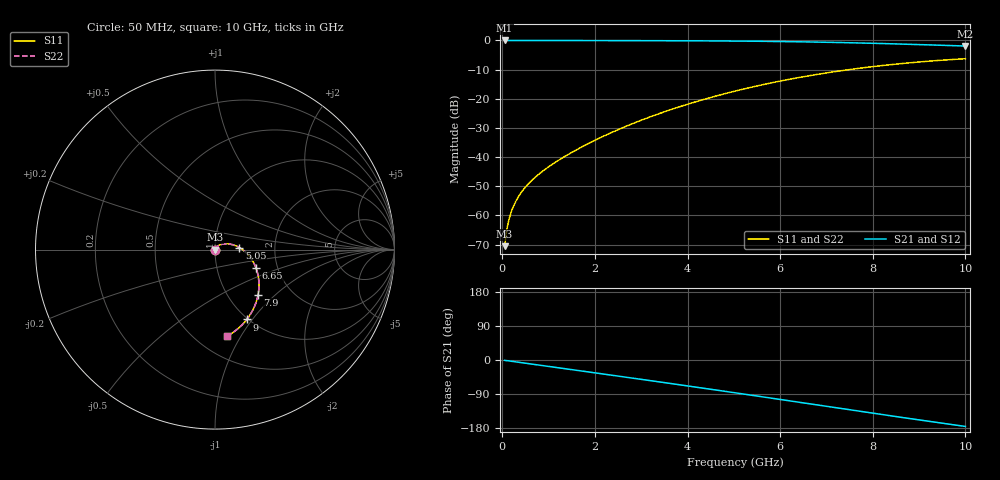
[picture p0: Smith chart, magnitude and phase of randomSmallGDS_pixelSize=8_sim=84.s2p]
! freq	dB(S11)	phase(S11)	dB(S12)	phase(S12)
!  dB(S21)	phase(S21)	dB(S22)	phase(S22)
!S-par simulation data
#  GHz  S  DB  R 50
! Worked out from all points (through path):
!   200 points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, 50 MHz to 10 GHz, reference 50 ohm
!   highest |S21| = 0.00 dB at 50 MHz (marker M1); lowest = -1.9 dB at 10 GHz (marker M2)
!   group delay of S21, straight-line fit = 49.1 ps
!   lowest |S11| = -70.5 dB at 50 MHz (marker M3), VSWR 1.00, Z = 50 + j0.0295 ohm
!   |S11| at or under -10 dB: start of sweep to 7.488 GHz
!   |S22| runs from -70.5 to -6.3 dB; largest |S21 - S12| = 0
!   S11 on the Smith chart (normalised r, x): 50 MHz: 1.00, +0.00; 5.05 GHz: 1.32, +0.03; 6.65 GHz: 1.55, -0.34; 7.9 GHz: 1.37, -0.79; 9 GHz: 0.99, -0.94; 10 GHz: 0.69, -0.87
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0.05  -70.54 83.0  -0.00 -0.9  -0.00 -0.9  -70.54 83.0
0.1  -64.55 85.3  -0.00 -1.7  -0.00 -1.7  -64.55 85.3
0.15  -61.02 85.5  -0.00 -2.6  -0.00 -2.6  -61.02 85.5
0.2  -58.50 85.2  -0.00 -3.4  -0.00 -3.4  -58.50 85.2
0.3  -54.92 84.1  -0.00 -5.1  -0.00 -5.1  -54.92 84.1
0.45  -51.26 82.1  -0.01 -7.7  -0.01 -7.7  -51.26 82.1
0.65  -47.79 79.2  -0.01 -11.0  -0.01 -11.0  -47.79 79.3
0.95  -43.90 74.9  -0.02 -16.1  -0.02 -16.1  -43.90 74.9
1.3  -40.25 69.6  -0.03 -22.0  -0.03 -22.0  -40.25 69.6
1.75  -36.24 62.4  -0.03 -29.6  -0.03 -29.6  -36.24 62.4
2.55  -30.25 48.8  -0.05 -43.3  -0.05 -43.3  -30.25 48.8
3.4  -25.02 33.9  -0.08 -57.9  -0.08 -57.9  -25.02 33.9
4.25  -20.69 18.8  -0.13 -72.8  -0.13 -72.8  -20.69 18.9
5.05  -17.27 4.6  -0.21 -86.9  -0.21 -86.9  -17.27 4.6
5.85  -14.41 -9.8  -0.33 -101.3  -0.33 -101.3  -14.41 -9.8
6.65  -12.03 -24.2  -0.51 -115.9  -0.51 -115.9  -12.03 -24.2
6.7  -11.89 -25.1  -0.53 -116.8  -0.53 -116.8  -11.89 -25.1
7.3  -10.42 -35.8  -0.71 -127.7  -0.71 -127.7  -10.42 -35.8
7.9  -9.16 -46.5  -0.93 -138.5  -0.93 -138.5  -9.16 -46.5
8.35  -8.35 -54.4  -1.12 -146.6  -1.12 -146.6  -8.35 -54.4
9  -7.38 -65.5  -1.41 -158.1  -1.41 -158.1  -7.38 -65.5
10  -6.26 -82.1  -1.91 -175.3  -1.91 -175.3  -6.26 -82.1
